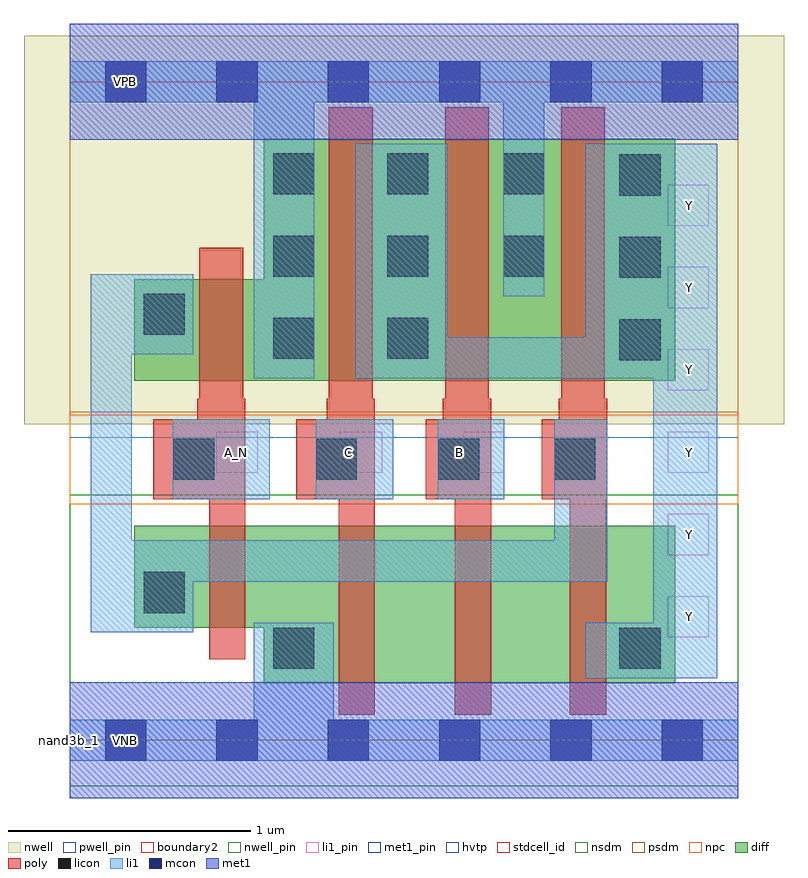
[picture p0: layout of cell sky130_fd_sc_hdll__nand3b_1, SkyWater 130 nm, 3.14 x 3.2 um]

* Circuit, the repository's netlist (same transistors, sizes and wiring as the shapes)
* Copyright 2020 The SkyWater PDK Authors
*
* Licensed under the Apache License, Version 2.0 (the "License");
* you may not use this file except in compliance with the License.
* You may obtain a copy of the License at
*
*     https://www.apache.org/licenses/LICENSE-2.0
*
* Unless required by applicable law or agreed to in writing, software
* distributed under the License is distributed on an "AS IS" BASIS,
* WITHOUT WARRANTIES OR CONDITIONS OF ANY KIND, either express or implied.
* See the License for the specific language governing permissions and
* limitations under the License.
*
* SPDX-License-Identifier: Apache-2.0

.SUBCKT sky130_fd_sc_hdll__nand3b_1 A_N B C VGND VNB VPB VPWR Y
*.PININFO A_N:I B:I C:I VGND:I VNB:I VPB:I VPWR:I Y:O
MMP0 Y A VPWR VPB sky130_fd_pr__pfet_01v8_hvt m=1 w=1.0U l=0.18U mult=1 sa=0.265
+ sb=0.265 sd=0.28 area=0.063 perim=1.14
MMP1 Y B VPWR VPB sky130_fd_pr__pfet_01v8_hvt m=1 w=1.0U l=0.18U mult=1 sa=0.265
+ sb=0.265 sd=0.28 area=0.063 perim=1.14
MMP2 Y C VPWR VPB sky130_fd_pr__pfet_01v8_hvt m=1 w=1.0U l=0.18U mult=1 sa=0.265
+ sb=0.265 sd=0.28 area=0.063 perim=1.14
MMIP0 A A_N VPWR VPB sky130_fd_pr__pfet_01v8_hvt m=1 w=0.42U l=0.18U mult=1 sa=0.265
+ sb=0.265 sd=0.28 area=0.063 perim=1.14
MMN0 Y A sndA VNB sky130_fd_pr__nfet_01v8 m=1 w=0.65U l=0.15U mult=1 sa=0.265 sb=0.265
+ sd=0.28 area=0.063 perim=1.14
MMN1 sndA B sndB VNB sky130_fd_pr__nfet_01v8 m=1 w=0.65U l=0.15U mult=1 sa=0.265
+ sb=0.265 sd=0.28 area=0.063 perim=1.14
MMN2 sndB C VGND VNB sky130_fd_pr__nfet_01v8 m=1 w=0.65U l=0.15U mult=1 sa=0.265
+ sb=0.265 sd=0.28 area=0.063 perim=1.14
MMIN0 A A_N VGND VNB sky130_fd_pr__nfet_01v8 m=1 w=0.42U l=0.15U mult=1 sa=0.265
+ sb=0.265 sd=0.28 area=0.063 perim=1.14
.ENDS sky130_fd_sc_hdll__nand3b_1

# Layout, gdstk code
import gdstk
lib = gdstk.Library(unit=1e-6, precision=1e-09)
def R(c, l, rs):  # rectangles x0, y0, x1, y1
    for r in rs: c.add(gdstk.rectangle(r[:2], r[2:], *l))
def A(c, l, x, y, w, h, nx, ny, dx, dy):  # array of equal rectangles
    R(c, l, [(x+i*dx, y+j*dy, x+i*dx+w, y+j*dy+h) for i in range(nx) for j in range(ny)])
def P(c, l, *ps):  # polygons
    for p in ps: c.add(gdstk.Polygon(p, *l))
nwell_pin = (64, 16)
nwell = (64, 20)
diff = (65, 20)
poly = (66, 20)
licon = (66, 44)
li1_pin = (67, 16)
li1 = (67, 20)
mcon = (67, 44)
met1_pin = (68, 16)
met1 = (68, 20)
hvtp = (78, 44)
stdcell_id = (81, 4)
nsdm = (93, 44)
psdm = (94, 20)
npc = (95, 20)
pwell_pin = (122, 16)
boundary2 = (236, 0)

sky130_fd_sc_hdll__nand3 = lib.new_cell('sky130_fd_sc_hdll__nand3b_1')
R(sky130_fd_sc_hdll__nand3, nwell_pin, [(0.145,2.635,0.315,2.805)])
R(sky130_fd_sc_hdll__nand3, nwell, [(-0.19,1.305,2.95,2.91)])
P(sky130_fd_sc_hdll__nand3, diff, [(2.5,2.485),(0.8,2.485),(0.8,1.905),(0.265,1.905),(0.265,1.485),(2.5,1.485)],
  [(2.5,0.885),(0.265,0.885),(0.265,0.465),(0.8,0.465),(0.8,0.235),(2.5,0.235)])
P(sky130_fd_sc_hdll__nand3, poly, [(0.725,1.41),(0.715,1.41),(0.715,2.035),(0.535,2.035),(0.535,1.41),(0.525,1.41),(0.525,1.325),(0.345,1.325),(0.345,0.995),(0.575,0.995),(0.575,0.335),(0.725,0.335)],
  [(1.26,1.41),(1.25,1.41),(1.25,2.615),(1.07,2.615),(1.07,1.41),(1.06,1.41),(1.06,1.325),(0.935,1.325),(0.935,0.995),(1.11,0.995),(1.11,0.105),(1.26,0.105)],
  [(1.74,1.41),(1.73,1.41),(1.73,2.615),(1.55,2.615),(1.55,1.41),(1.54,1.41),(1.54,1.325),(1.47,1.325),(1.47,0.995),(1.59,0.995),(1.59,0.105),(1.74,0.105)],
  [(2.22,1.41),(2.21,1.41),(2.21,2.615),(2.03,2.615),(2.03,1.41),(2.02,1.41),(2.02,1.325),(1.95,1.325),(1.95,0.995),(2.065,0.995),(2.065,0.105),(2.215,0.105),(2.215,0.995),(2.22,0.995)])
A(sky130_fd_sc_hdll__nand3, licon, 2.27, 1.57, 0.17, 0.17, 1, 3, 0, 0.34)
A(sky130_fd_sc_hdll__nand3, licon, 0.84, 1.575, 0.17, 0.17, 1, 3, 0, 0.34)
A(sky130_fd_sc_hdll__nand3, licon, 1.31, 1.575, 0.17, 0.17, 1, 3, 0, 0.34)
R(sky130_fd_sc_hdll__nand3, licon, [(0.84,0.295,1.01,0.465), (2.27,0.295,2.44,0.465), (0.305,0.525,0.475,0.695), (0.425,1.075,0.595,1.245), (1.015,1.075,1.185,1.245), (1.52,1.075,1.69,1.245), (2,1.075,2.17,1.245), (0.305,1.675,0.475,1.845), (1.79,1.915,1.96,2.085), (1.79,2.255,1.96,2.425)])
A(sky130_fd_sc_hdll__nand3, li1_pin, 2.47, 0.425, 0.17, 0.17, 1, 6, 0, 0.34)
R(sky130_fd_sc_hdll__nand3, li1_pin, [(0.605,1.105,0.775,1.275), (1.115,1.105,1.29,1.275), (1.625,1.105,1.795,1.275)])
R(sky130_fd_sc_hdll__nand3, li1, [(0.425,0.995,0.825,1.325), (1.015,0.995,1.335,1.325), (1.52,0.995,1.795,1.325)])
P(sky130_fd_sc_hdll__nand3, li1, [(2.76,2.805),(0,2.805),(0,2.635),(0.76,2.635),(0.76,1.495),(1.01,1.495),(1.01,2.635),(1.79,2.635),(1.79,1.835),(1.96,1.835),(1.96,2.635),(2.76,2.635)],
  [(2.675,2.465),(2.13,2.465),(2.13,1.665),(1.56,1.665),(1.56,2.465),(1.18,2.465),(1.18,1.495),(2.41,1.495),(2.41,0.485),(2.13,0.485),(2.13,0.255),(2.675,0.255)],
  [(2.76,0.085),(1.09,0.085),(1.09,0.485),(0.76,0.485),(0.76,0.085),(0,0.085),(0,-0.085),(2.76,-0.085)],
  [(2.22,1.325),(2,1.325),(2,0.825),(0.255,0.825),(0.255,1.595),(0.51,1.595),(0.51,1.925),(0.085,1.925),(0.085,0.445),(0.51,0.445),(0.51,0.655),(2.22,0.655)])
A(sky130_fd_sc_hdll__nand3, mcon, 0.145, -0.085, 0.17, 0.17, 6, 2, 0.46, 2.72)
R(sky130_fd_sc_hdll__nand3, met1_pin, [(0.145,-0.085,0.315,0.085), (0.145,2.635,0.315,2.805)])
R(sky130_fd_sc_hdll__nand3, met1, [(0,-0.24,2.76,0.24), (0,2.48,2.76,2.96)])
R(sky130_fd_sc_hdll__nand3, hvtp, [(0,1.25,2.76,2.72)])
R(sky130_fd_sc_hdll__nand3, stdcell_id, [(0,0,2.76,2.72)])
R(sky130_fd_sc_hdll__nand3, nsdm, [(0,-0.19,2.76,1.015)])
R(sky130_fd_sc_hdll__nand3, psdm, [(0,1.355,2.76,2.91)])
R(sky130_fd_sc_hdll__nand3, npc, [(0,0.975,2.76,1.345)])
R(sky130_fd_sc_hdll__nand3, pwell_pin, [(0.145,-0.085,0.315,0.085)])
R(sky130_fd_sc_hdll__nand3, boundary2, [(0,0,2.76,2.72)])
sky130_fd_sc_hdll__nand3.add(gdstk.Label('B', (1.61,1.19), layer=67, texttype=5))
sky130_fd_sc_hdll__nand3.add(gdstk.Label('C', (1.15,1.19), layer=67, texttype=5))
sky130_fd_sc_hdll__nand3.add(gdstk.Label('A_N', (0.69,1.19), layer=67, texttype=5))
sky130_fd_sc_hdll__nand3.add(gdstk.Label('Y', (2.56,0.51), layer=67, texttype=5))
sky130_fd_sc_hdll__nand3.add(gdstk.Label('Y', (2.56,0.85), layer=67, texttype=5))
sky130_fd_sc_hdll__nand3.add(gdstk.Label('Y', (2.56,1.19), layer=67, texttype=5))
sky130_fd_sc_hdll__nand3.add(gdstk.Label('Y', (2.56,1.53), layer=67, texttype=5))
sky130_fd_sc_hdll__nand3.add(gdstk.Label('Y', (2.56,1.87), layer=67, texttype=5))
sky130_fd_sc_hdll__nand3.add(gdstk.Label('Y', (2.56,2.21), layer=67, texttype=5))
sky130_fd_sc_hdll__nand3.add(gdstk.Label('VPB', (0.23,2.72), layer=64, texttype=5))
sky130_fd_sc_hdll__nand3.add(gdstk.Label('VNB', (0.23,0), layer=64, texttype=59))
sky130_fd_sc_hdll__nand3.add(gdstk.Label('VGND', (0.23,0), layer=68, texttype=5))
sky130_fd_sc_hdll__nand3.add(gdstk.Label('VPWR', (0.23,2.72), layer=68, texttype=5))
sky130_fd_sc_hdll__nand3.add(gdstk.Label('nand3b_1', (0,0), layer=83, texttype=44))

lib.write_gds('sky130_fd_sc_hdll__nand3b_1.gds')
